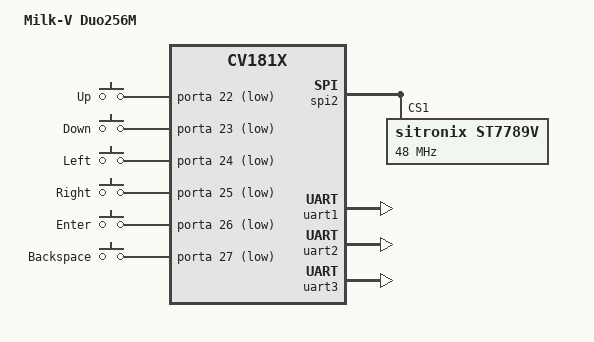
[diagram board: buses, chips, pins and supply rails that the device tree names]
/dts-v1/;
#include "cv181x_base_riscv.dtsi"
#include "cv181x_asic_qfn.dtsi"
#include "cv181x_asic_sd.dtsi"
#include "cv181x_default_memmap.dtsi"

&mipi_rx{
	snsr-reset = <&portc 17 GPIO_ACTIVE_LOW>, <&portc 17 GPIO_ACTIVE_LOW>, <&portc 17 GPIO_ACTIVE_LOW>;
};

&mipi_tx {
	/delete-property/ reset-gpio;
	/delete-property/ pwm-gpio;
	/delete-property/ power-ct-gpio;
};

&spi2 {
	status = "okay";
	num-cs = <2>;
	
	/delete-node/ spidev@0;

	st7789v: st7789v@1 {
		compatible = "sitronix,st7789v";
		reg = <1>;
		status = "okay";
		spi-max-frequency = <48000000>;
		spi-cpol;
		spi-cpha;
		rotate = <0>;
		fps = <60>;
		rgb;
		buswidth = <8>;

		dc = <&porta 24 GPIO_ACTIVE_HIGH>;
		reset = <&porta 23 GPIO_ACTIVE_HIGH>;

		debug = <0x0>;
	};
};

&i2c0 {
	status = "disabled";
};

&i2c4 {
	status = "disabled";
};

&uart1 {
	status = "okay";
};

&uart2 {
	status = "okay";
};

&uart3 {
	status = "okay";
};

/ {
	model = "Milk-V Duo256M";

	gpio-keys {
		compatible = "gpio-keys";

		up {
			label = "Up";
			gpios = <&porta 22 GPIO_ACTIVE_LOW>;
			linux,code = <103>;
		};

		down {
			label = "Down";
			gpios = <&porta 23 GPIO_ACTIVE_LOW>;
			linux,code = <108>;
		};

		left {
			label = "Left";
			gpios = <&porta 24 GPIO_ACTIVE_LOW>;
			linux,code = <105>;
		};

		right {
			label = "Right";
			gpios = <&porta 25 GPIO_ACTIVE_LOW>;
			linux,code = <106>;
		};

		enter {
			label = "Enter";
			gpios = <&porta 26 GPIO_ACTIVE_LOW>;
			linux,code = <28>;
		};

		backspace {
			label = "Backspace";
			gpios = <&porta 27 GPIO_ACTIVE_LOW>;
			linux,code = <14>;
		};
	};
};

